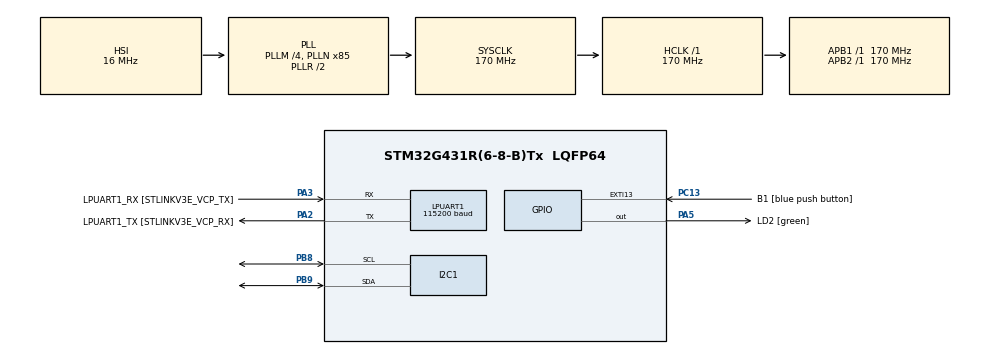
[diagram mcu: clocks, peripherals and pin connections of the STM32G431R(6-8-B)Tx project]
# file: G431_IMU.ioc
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I2C1.Timing=0x30A0A7FB
LPUART1.BaudRate=115200
LPUART1.WordLength=UART_WORDLENGTH_8B
Mcu.Family=STM32G4
Mcu.Name=STM32G431R(6-8-B)Tx
Mcu.Package=LQFP64
NVIC.PriorityGroup=NVIC_PRIORITYGROUP_4
PA13.GPIO_Label=T_SWDIO
PA13.Mode=Serial_Wire
PA13.Signal=SYS_JTMS-SWDIO
PA14.GPIO_Label=T_SWCLK
PA14.Mode=Serial_Wire
PA14.Signal=SYS_JTCK-SWCLK
PA2.GPIO_Label=LPUART1_TX [STLINKV3E_VCP_RX]
PA2.Mode=Asynchronous
PA2.Signal=LPUART1_TX
PA3.GPIO_Label=LPUART1_RX [STLINKV3E_VCP_TX]
PA3.Mode=Asynchronous
PA3.Signal=LPUART1_RX
PA5.GPIO_Label=LD2 [green]
PA5.Signal=GPIO_Output
PB3.GPIO_Label=T_SWO
PB3.Signal=SYS_JTDO-SWO
PB8-BOOT0.Mode=I2C
PB8-BOOT0.Signal=I2C1_SCL
PB9.Mode=I2C
PB9.Signal=I2C1_SDA
PC13.GPIO_Label=B1 [blue push button]
PC13.Signal=GPXTI13
PC14-OSC32_IN.Mode=LSE-External-Oscillator
PC14-OSC32_IN.Signal=RCC_OSC32_IN
PC15-OSC32_OUT.Mode=LSE-External-Oscillator
PC15-OSC32_OUT.Signal=RCC_OSC32_OUT
PF0-OSC_IN.Mode=HSE-External-Oscillator
PF0-OSC_IN.Signal=RCC_OSC_IN
PF1-OSC_OUT.Mode=HSE-External-Oscillator
PF1-OSC_OUT.Signal=RCC_OSC_OUT
ProjectManager.HeapSize=0x200
ProjectManager.StackSize=0x400
ProjectManager.TargetToolchain=STM32CubeIDE
RCC.ADC12Freq_Value=170000000
RCC.AHBFreq_Value=170000000
RCC.APB1Freq_Value=170000000
RCC.APB1TimFreq_Value=170000000
RCC.APB2Freq_Value=170000000
RCC.APB2TimFreq_Value=170000000
RCC.CortexFreq_Value=170000000
RCC.EXTERNAL_CLOCK_VALUE=12288000
RCC.HCLKFreq_Value=170000000
RCC.HSE_VALUE=24000000
RCC.HSI48_VALUE=48000000
RCC.HSI_VALUE=16000000
RCC.PLLM=RCC_PLLM_DIV4
RCC.PLLN=85
RCC.RTCClockSelection=RCC_RTCCLKSOURCE_LSE
RCC.SYSCLKFreq_VALUE=170000000
RCC.SYSCLKSource=RCC_SYSCLKSOURCE_PLLCLK
RCC.USBFreq_Value=170000000
RCC.VCOOutputFreq_Value=340000000
VP_SYS_VS_DBSignals.Mode=DisableDeadBatterySignals
board=NUCLEO-G431RB

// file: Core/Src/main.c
/* USER CODE BEGIN Header */
/**
  ******************************************************************************
  * @file           : main.c
  * @brief          : Main program body
  ******************************************************************************
  * @attention
  *
  * Copyright (c) 2022 STMicroelectronics.
  * All rights reserved.
  *
  * This software is licensed under terms that can be found in the LICENSE file
  * in the root directory of this software component.
  * If no LICENSE file comes with this software, it is provided AS-IS.
  *
  ******************************************************************************
  */
/* USER CODE END Header */
#include "main.h"

/* USER CODE BEGIN Includes */
#include <string.h>
#include <math.h>
#include <stdio.h>
#include <time.h>
/* USER CODE END Includes */

/* USER CODE BEGIN PD */
#define IMU_ADDR 0x19<<1	//| Use 8-bit address
#define REG_CTRL_1   0x20 	//| Control Register-1
#define REG_CTRL_4   0x23 	//| Control Register-4
#define REG_X_L 	  0x28 	//| X-Axis LSB
#define REG_X_H 	  0x29		//| X-Axis MSB
#define REG_Y_L 	  0x2A		//| Y-Axis LSB
#define REG_Y_H 	  0x2B		//| Y-Axis MSB
#define REG_Z_L 	  0x2C		//| Z-Axis LSB
#define REG_Z_H 	  0x2D		//| Z-Axis MSB

//Constants used to convert raw acceleration based on range
#define ACC_RANGE_2G   16384
#define ACC_RANGE_4G   8192
#define ACC_RANGE_8G   4096
#define ACC_RANGE_16G   2048

//Control register 4 values to change acceleration range
#define CTRL_REG_4_ACCL_RANGE_16G               0x30 // Full scale   +/-16g
#define CTRL_REG_4_ACCL_RANGE_8G                0x20 // Full scale   +/-8g
#define CTRL_REG_4_ACCL_RANGE_4G                0x10 // Full scale   +/-4g
#define CTRL_REG_4_ACCL_RANGE_2G                0x00 //Full scale = +/-2g

//Selected acceleration range
#define SELECTED_ACC_RANGE ACC_RANGE_2G
#define SELECTED_CTRL_REG_4_ACCL_RANGE CTRL_REG_4_ACCL_RANGE_2G

#define GRAVITATIONAL_CONSTANT 9.8

/* USER CODE END PD */

I2C_HandleTypeDef hi2c1;

UART_HandleTypeDef hlpuart1;

void SystemClock_Config(void);
static void MX_GPIO_Init(void);
static void MX_LPUART1_UART_Init(void);
static void MX_I2C1_Init(void);
/* USER CODE BEGIN PFP */

void print(char _out[]);
float convertRawAcceleration(uint8_t highReading, uint8_t lowReading);
void readRawAcceleration(
		uint8_t * ACC_X_H,
		uint8_t * ACC_X_L,
		uint8_t * ACC_Y_H,
		uint8_t * ACC_Y_L,
		uint8_t * ACC_Z_H,
		uint8_t * ACC_Z_L);
void updatePos(float * pos, float speed, float acc, float TIME_DIFF);
void updateSpeed(float * speed, float acc,float TIME_DIFF);
void getTimeValues(int previousTime, int * currentTime, float * timeDiff);

/* USER CODE END PFP */

int main(void)
{
  /* USER CODE BEGIN 1 */
	uint8_t ACC_X_L = {0};
	uint8_t ACC_X_H = {0};
	uint8_t ACC_Y_L = {0};
	uint8_t ACC_Y_H = {0};
	uint8_t ACC_Z_L = {0};
	uint8_t ACC_Z_H = {0};

	float ACC_X = 0;
	float ACC_Y = 0;
	float ACC_Z = 0;

	float X_POS = 0;
	float X_SPEED = 0;
	float Y_POS = 0;
	float Y_SPEED = 0;

	int PREVIOUS_TIME = 0;
	int CURRENT_TIME = 0;
	float TIME_DIFF = 0;
	char buffer_msg[50];

  /* USER CODE END 1 */

  /* MCU Configuration--------------------------------------------------------*/

  /* Reset of all peripherals, Initializes the Flash interface and the Systick. */
  HAL_Init();

  /* Configure the system clock */
  SystemClock_Config();

  /* Initialize all configured peripherals */
  MX_GPIO_Init();
  MX_LPUART1_UART_Init();
  MX_I2C1_Init();
  /* USER CODE BEGIN 2 */

  uint8_t buf[1] = {0b01110111};
  HAL_I2C_Mem_Write(&hi2c1, IMU_ADDR, REG_CTRL_1, I2C_MEMADD_SIZE_8BIT, buf, 1, 1000);

  uint8_t buf2[1] = {SELECTED_CTRL_REG_4_ACCL_RANGE};
  HAL_I2C_Mem_Write(&hi2c1, IMU_ADDR, REG_CTRL_4, I2C_MEMADD_SIZE_8BIT, buf2, 1, 1000);

  /* USER CODE END 2 */

  /* Infinite loop */
  /* USER CODE BEGIN WHILE */
  while (1)
  {

	  //Read raw acceleration
	  readRawAcceleration(&ACC_X_H, &ACC_X_L, &ACC_Y_H, &ACC_Y_L, &ACC_Z_H, &ACC_Z_L);

	  //Convert raw acceleration
	  ACC_X = convertRawAcceleration(ACC_X_H,ACC_X_L);
	  ACC_Y = convertRawAcceleration(ACC_Y_H,ACC_Y_L);
	  ACC_Z = convertRawAcceleration(ACC_Z_H,ACC_Z_L);

	  //Get time
	  getTimeValues(PREVIOUS_TIME,&CURRENT_TIME,&TIME_DIFF);

	  //Update position values
	  updatePos(&X_POS, X_SPEED,ACC_X,TIME_DIFF);
	  updatePos(&Y_POS, Y_SPEED,ACC_Y,TIME_DIFF);

	  //Update speed values
	  updateSpeed(&X_SPEED,ACC_X,TIME_DIFF);
	  updateSpeed(&Y_SPEED,ACC_Y,TIME_DIFF);

	  //Print values
	  sprintf(buffer_msg, "%fm/s2", ACC_X);
	  print(buffer_msg);

	  sprintf(buffer_msg, "%fm/s2", ACC_Y);
	  print(buffer_msg);

	  sprintf(buffer_msg, "%fm/s2", ACC_Z);
	  print(buffer_msg);

	  sprintf(buffer_msg, "%fm", X_POS);
	  print(buffer_msg);

	  sprintf(buffer_msg, "%fm", Y_POS);
	  print(buffer_msg);

	  sprintf(buffer_msg, "%fm/s", X_SPEED);
	  print(buffer_msg);

	  sprintf(buffer_msg, "%fm/s", Y_SPEED);
	  print(buffer_msg);

	  print("-------------");

	  //Update clock
	  PREVIOUS_TIME = CURRENT_TIME;
	  HAL_Delay(50);

    /* USER CODE END WHILE */

  }
}

void SystemClock_Config(void)
{
  RCC_OscInitTypeDef RCC_OscInitStruct = {0};
  RCC_ClkInitTypeDef RCC_ClkInitStruct = {0};

  /** Configure the main internal regulator output voltage
  */
  HAL_PWREx_ControlVoltageScaling(PWR_REGULATOR_VOLTAGE_SCALE1_BOOST);
  /** Initializes the RCC Oscillators according to the specified parameters
  * in the RCC_OscInitTypeDef structure.
  */
  RCC_OscInitStruct.OscillatorType = RCC_OSCILLATORTYPE_HSI;
  RCC_OscInitStruct.HSIState = RCC_HSI_ON;
  RCC_OscInitStruct.HSICalibrationValue = RCC_HSICALIBRATION_DEFAULT;
  RCC_OscInitStruct.PLL.PLLState = RCC_PLL_ON;
  RCC_OscInitStruct.PLL.PLLSource = RCC_PLLSOURCE_HSI;
  RCC_OscInitStruct.PLL.PLLM = RCC_PLLM_DIV4;
  RCC_OscInitStruct.PLL.PLLN = 85;
  RCC_OscInitStruct.PLL.PLLP = RCC_PLLP_DIV2;
  RCC_OscInitStruct.PLL.PLLQ = RCC_PLLQ_DIV2;
  RCC_OscInitStruct.PLL.PLLR = RCC_PLLR_DIV2;
  if (HAL_RCC_OscConfig(&RCC_OscInitStruct) != HAL_OK)
  {
    Error_Handler();
  }
  /** Initializes the CPU, AHB and APB buses clocks
  */
  RCC_ClkInitStruct.ClockType = RCC_CLOCKTYPE_HCLK|RCC_CLOCKTYPE_SYSCLK
                              |RCC_CLOCKTYPE_PCLK1|RCC_CLOCKTYPE_PCLK2;
  RCC_ClkInitStruct.SYSCLKSource = RCC_SYSCLKSOURCE_PLLCLK;
  RCC_ClkInitStruct.AHBCLKDivider = RCC_SYSCLK_DIV1;
  RCC_ClkInitStruct.APB1CLKDivider = RCC_HCLK_DIV1;
  RCC_ClkInitStruct.APB2CLKDivider = RCC_HCLK_DIV1;

  if (HAL_RCC_ClockConfig(&RCC_ClkInitStruct, FLASH_LATENCY_4) != HAL_OK)
  {
    Error_Handler();
  }
}

static void MX_I2C1_Init(void)
{

  hi2c1.Instance = I2C1;
  hi2c1.Init.Timing = 0x30A0A7FB;
  hi2c1.Init.OwnAddress1 = 0;
  hi2c1.Init.AddressingMode = I2C_ADDRESSINGMODE_7BIT;
  hi2c1.Init.DualAddressMode = I2C_DUALADDRESS_DISABLE;
  hi2c1.Init.OwnAddress2 = 0;
  hi2c1.Init.OwnAddress2Masks = I2C_OA2_NOMASK;
  hi2c1.Init.GeneralCallMode = I2C_GENERALCALL_DISABLE;
  hi2c1.Init.NoStretchMode = I2C_NOSTRETCH_DISABLE;
  if (HAL_I2C_Init(&hi2c1) != HAL_OK)
  {
    Error_Handler();
  }
  /** Configure Analogue filter
  */
  if (HAL_I2CEx_ConfigAnalogFilter(&hi2c1, I2C_ANALOGFILTER_ENABLE) != HAL_OK)
  {
    Error_Handler();
  }
  /** Configure Digital filter
  */
  if (HAL_I2CEx_ConfigDigitalFilter(&hi2c1, 0) != HAL_OK)
  {
    Error_Handler();
  }

}

static void MX_LPUART1_UART_Init(void)
{

  hlpuart1.Instance = LPUART1;
  hlpuart1.Init.BaudRate = 115200;
  hlpuart1.Init.WordLength = UART_WORDLENGTH_8B;
  hlpuart1.Init.StopBits = UART_STOPBITS_1;
  hlpuart1.Init.Parity = UART_PARITY_NONE;
  hlpuart1.Init.Mode = UART_MODE_TX_RX;
  hlpuart1.Init.HwFlowCtl = UART_HWCONTROL_NONE;
  hlpuart1.Init.OneBitSampling = UART_ONE_BIT_SAMPLE_DISABLE;
  hlpuart1.Init.ClockPrescaler = UART_PRESCALER_DIV1;
  hlpuart1.AdvancedInit.AdvFeatureInit = UART_ADVFEATURE_NO_INIT;
  if (HAL_UART_Init(&hlpuart1) != HAL_OK)
  {
    Error_Handler();
  }
  if (HAL_UARTEx_SetTxFifoThreshold(&hlpuart1, UART_TXFIFO_THRESHOLD_1_8) != HAL_OK)
  {
    Error_Handler();
  }
  if (HAL_UARTEx_SetRxFifoThreshold(&hlpuart1, UART_RXFIFO_THRESHOLD_1_8) != HAL_OK)
  {
    Error_Handler();
  }
  if (HAL_UARTEx_DisableFifoMode(&hlpuart1) != HAL_OK)
  {
    Error_Handler();
  }

}

static void MX_GPIO_Init(void)
{
  GPIO_InitTypeDef GPIO_InitStruct = {0};

  /* GPIO Ports Clock Enable */
  __HAL_RCC_GPIOC_CLK_ENABLE();
  __HAL_RCC_GPIOF_CLK_ENABLE();
  __HAL_RCC_GPIOA_CLK_ENABLE();
  __HAL_RCC_GPIOB_CLK_ENABLE();

  /*Configure GPIO pin Output Level */
  HAL_GPIO_WritePin(LD2_GPIO_Port, LD2_Pin, GPIO_PIN_RESET);

  /*Configure GPIO pin : B1_Pin */
  GPIO_InitStruct.Pin = B1_Pin;
  GPIO_InitStruct.Mode = GPIO_MODE_IT_RISING;
  GPIO_InitStruct.Pull = GPIO_NOPULL;
  HAL_GPIO_Init(B1_GPIO_Port, &GPIO_InitStruct);

  /*Configure GPIO pin : LD2_Pin */
  GPIO_InitStruct.Pin = LD2_Pin;
  GPIO_InitStruct.Mode = GPIO_MODE_OUTPUT_PP;
  GPIO_InitStruct.Pull = GPIO_NOPULL;
  GPIO_InitStruct.Speed = GPIO_SPEED_FREQ_LOW;
  HAL_GPIO_Init(LD2_GPIO_Port, &GPIO_InitStruct);

}

/* USER CODE BEGIN 4 */
void print(char _out[]){
 HAL_UART_Transmit(&hlpuart1, (uint8_t *) _out, strlen(_out), 10);
 char newline[2] = "\r\n";
 HAL_UART_Transmit(&hlpuart1, (uint8_t *) newline, 2, 10);
}

float convertRawAcceleration(uint8_t highReading, uint8_t lowReading){
	  int16_t RAW_ACC = highReading;
	  RAW_ACC <<= 8;
	  RAW_ACC |= lowReading;
	  return ((float)RAW_ACC / (float)SELECTED_ACC_RANGE)*GRAVITATIONAL_CONSTANT;
}

void readRawAcceleration(
		uint8_t * ACC_X_H,
		uint8_t * ACC_X_L,
		uint8_t * ACC_Y_H,
		uint8_t * ACC_Y_L,
		uint8_t * ACC_Z_H,
		uint8_t * ACC_Z_L){
		// Get acceleration in X-AXIS
		HAL_I2C_Mem_Read(&hi2c1, IMU_ADDR, REG_X_H, I2C_MEMADD_SIZE_8BIT, ACC_X_H, 1, 1000);
		HAL_I2C_Mem_Read(&hi2c1, IMU_ADDR, REG_X_L, I2C_MEMADD_SIZE_8BIT, ACC_X_L, 1, 1000);

		// Get acceleration in Y-AXIS
		HAL_I2C_Mem_Read(&hi2c1, IMU_ADDR, REG_Y_H, I2C_MEMADD_SIZE_8BIT, ACC_Y_H, 1, 1000);
		HAL_I2C_Mem_Read(&hi2c1, IMU_ADDR, REG_Y_L, I2C_MEMADD_SIZE_8BIT, ACC_Y_L, 1, 1000);

		// Get acceleration in Z-AXIS
		HAL_I2C_Mem_Read(&hi2c1, IMU_ADDR, REG_Z_H, I2C_MEMADD_SIZE_8BIT, ACC_Z_H, 1, 1000);
		HAL_I2C_Mem_Read(&hi2c1, IMU_ADDR, REG_Z_L, I2C_MEMADD_SIZE_8BIT, ACC_Z_L, 1, 1000);
}

void updatePos(float * pos, float speed, float acc, float TIME_DIFF){
	*pos += speed*TIME_DIFF+0.5*acc*TIME_DIFF*TIME_DIFF;
}
void updateSpeed(float * speed, float acc,float TIME_DIFF){
	*speed += acc*TIME_DIFF;
}

void getTimeValues(int previousTime, int * currentTime, float * timeDiff){
	*currentTime = HAL_GetTick();
	*timeDiff = ((float)*currentTime-(float)previousTime)/1000;
}

/* USER CODE END 4 */

void Error_Handler(void)
{
  __disable_irq();
  while (1)
  {
  }
}
